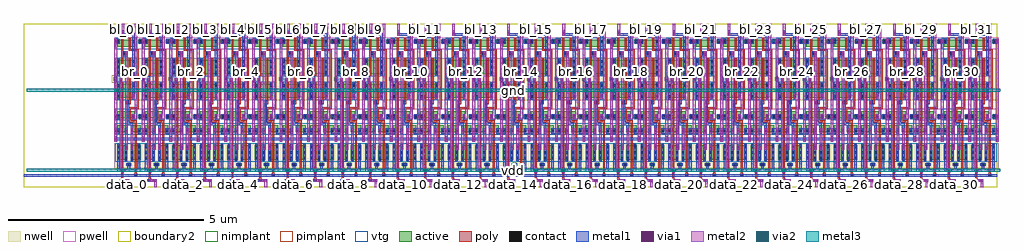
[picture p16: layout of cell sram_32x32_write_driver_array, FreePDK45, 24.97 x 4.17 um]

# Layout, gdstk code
import gdstk
lib = gdstk.Library(unit=1e-6, precision=5e-10)
def R(c, l, rs):  # rectangles x0, y0, x1, y1
    for r in rs: c.add(gdstk.rectangle(r[:2], r[2:], *l))
def A(c, l, x, y, w, h, nx, ny, dx, dy):  # array of equal rectangles
    R(c, l, [(x+i*dx, y+j*dy, x+i*dx+w, y+j*dy+h) for i in range(nx) for j in range(ny)])
active = (1, 0)
pwell = (2, 0)
nwell = (3, 0)
nimplant = (4, 0)
pimplant = (5, 0)
vtg = (6, 0)
poly = (9, 0)
contact = (10, 0)
metal1 = (11, 0)
via1 = (12, 0)
metal2 = (13, 0)
via2 = (14, 0)
metal3 = (15, 0)
boundary2 = (239, 0)

write_driver = lib.new_cell('write_driver')
R(write_driver, active, [(0.2925,0.535,0.3825,0.625), (0.04,0.705,0.115,1.065), (0.04,0.705,0.115,1.065), (0.04,0.705,0.3,1.065), (0.225,0.705,0.3,1.065), (0.225,0.705,0.3,1.065), (0.38,0.705,0.455,1.065), (0.38,0.705,0.455,1.065), (0.38,0.705,0.64,1.065), (0.565,0.705,0.64,1.065), (0.565,0.705,0.64,1.065), (0.04,0.71,0.115,1.065), (0.225,0.71,0.3,1.065), (0.38,0.71,0.455,1.065), (0.565,0.71,0.64,1.065), (0.04,1.4,0.115,1.58), (0.04,1.4,0.115,1.58), (0.04,1.4,0.3,1.58), (0.04,1.4,0.115,1.475), (0.225,1.4,0.3,1.58), (0.225,1.4,0.3,1.58), (0.225,1.4,0.3,1.475), (0.38,1.4,0.455,1.58), (0.38,1.4,0.455,1.58), (0.38,1.4,0.64,1.58), (0.38,1.4,0.455,1.475), (0.565,1.4,0.64,1.58), (0.565,1.4,0.64,1.58), (0.565,1.4,0.64,1.475), (0.5725,1.7575,0.6625,1.8475), (0.04,1.765,0.115,1.945), (0.04,1.765,0.115,1.945), (0.04,1.765,0.115,1.84), (0.04,1.765,0.49,1.945), (0.1975,1.765,0.3375,1.945), (0.415,1.765,0.49,1.945), (0.415,1.765,0.49,1.945), (0.415,1.765,0.49,1.84), (0.04,2.28,0.115,2.64), (0.04,2.28,0.115,2.64), (0.04,2.28,0.115,2.635), (0.04,2.28,0.49,2.64), (0.1975,2.28,0.3375,2.64), (0.415,2.28,0.49,2.64), (0.415,2.28,0.49,2.64), (0.415,2.28,0.49,2.635), (-0.045,2.72,0.045,2.81), (0.04,2.8925,0.115,3.2525), (0.04,2.8925,0.115,3.2525), (0.04,2.8925,0.49,3.2525), (0.1925,2.8925,0.3325,3.2525), (0.415,2.8925,0.49,3.2525), (0.415,2.8925,0.49,3.2525), (0.04,2.8975,0.115,3.2525), (0.415,2.8975,0.49,3.2525), (0.04,3.5875,0.115,3.7675), (0.04,3.5875,0.115,3.7675), (0.04,3.5875,0.49,3.7675), (0.1925,3.5875,0.3325,3.7675), (0.415,3.5875,0.49,3.7675), (0.415,3.5875,0.49,3.7675), (0.575,3.685,0.665,3.775), (0.04,3.6925,0.115,3.7675), (0.415,3.6925,0.49,3.7675)])
R(write_driver, pwell, [(-0.035,1.345,0.74,2), (-0.015,1.345,0.355,1.635), (0.325,1.345,0.695,1.635), (0.5175,1.7025,0.7175,1.9025), (-0.015,1.71,0.545,2), (-0.035,3.5325,0.74,3.83), (-0.015,3.5325,0.545,3.8225), (0.52,3.63,0.72,3.83)])
R(write_driver, nwell, [(-0.035,0.48,0.74,1.12), (0.2375,0.48,0.4375,0.68), (-0.015,0.65,0.355,1.12), (0.325,0.65,0.695,1.12), (-0.035,2.225,0.74,3.3), (-0.015,2.225,0.545,2.695), (-0.1,2.665,0.1,2.865), (-0.015,2.8375,0.545,3.3075)])
R(write_driver, nimplant, [(0.2925,0.535,0.3825,0.625), (0.04,1.4,0.3,1.58), (0.38,1.4,0.64,1.58), (0.04,1.765,0.49,1.945), (-0.045,2.72,0.045,2.81), (0.04,3.5875,0.49,3.7675)])
R(write_driver, pimplant, [(0.04,0.705,0.3,1.065), (0.38,0.705,0.64,1.065), (0.5725,1.7575,0.6625,1.8475), (0.04,2.28,0.49,2.64), (0.04,2.8925,0.49,3.2525), (0.575,3.685,0.665,3.775)])
R(write_driver, vtg, [(-0.015,0.65,0.355,1.12), (0.325,0.65,0.695,1.12), (-0.015,1.345,0.355,1.635), (0.325,1.345,0.695,1.635), (-0.015,1.71,0.545,2), (-0.015,2.225,0.545,2.695), (-0.015,2.8375,0.545,3.3075), (-0.015,3.5325,0.545,3.8225)])
R(write_driver, poly, [(0.1325,0.1325,0.2075,0.2075), (0.145,0.1375,0.195,0.65), (0.4725,0.2625,0.5475,0.3375), (0.485,0.2675,0.535,0.65), (0.145,0.65,0.195,0.705), (0.145,0.65,0.195,1.12), (0.485,0.65,0.535,0.705), (0.485,0.65,0.535,1.12), (0.145,1.065,0.195,1.12), (0.485,1.065,0.535,1.12), (0.145,1.12,0.195,1.345), (0.485,1.12,0.535,1.345), (0.145,1.345,0.195,1.635), (0.145,1.345,0.195,1.4), (0.485,1.345,0.535,1.635), (0.485,1.345,0.535,1.4), (0.145,1.58,0.195,1.635), (0.485,1.58,0.535,1.635), (0.145,1.635,0.195,1.71), (0.485,1.635,0.535,1.66), (0.335,1.66,0.535,1.71), (0.145,1.71,0.195,2), (0.145,1.71,0.195,1.765), (0.335,1.71,0.385,2), (0.335,1.71,0.385,1.765), (0.145,1.945,0.195,2), (0.335,1.945,0.385,2), (0.335,1.995,0.59,2.045), (0.54,1.995,0.59,3.4825), (0.145,2,0.195,2.225), (0.2775,2.12,0.3525,2.195), (0.335,2.12,0.385,2.225), (0.145,2.225,0.195,2.28), (0.145,2.225,0.195,2.695), (0.335,2.225,0.385,2.28), (0.335,2.225,0.385,2.695), (0.145,2.64,0.195,2.695), (0.335,2.64,0.385,2.695), (0.335,2.695,0.385,2.8375), (0.145,2.8375,0.195,2.8925), (0.145,2.8375,0.195,3.3075), (0.335,2.8375,0.385,2.8925), (0.335,2.8375,0.385,3.3075), (0.145,3.2525,0.195,3.3075), (0.335,3.2525,0.385,3.3075), (0.145,3.3075,0.195,3.5325), (0.18,3.37,0.255,3.445), (0.335,3.4825,0.59,3.5325), (0.145,3.5325,0.195,3.8225), (0.145,3.5325,0.195,3.5875), (0.335,3.5325,0.385,3.8225), (0.335,3.5325,0.385,3.5875), (0.145,3.7675,0.195,3.8225), (0.335,3.7675,0.385,3.8225)])
A(write_driver, contact, 0.045, 0.715, 0.065, 0.065, 1, 3, 0, 0.14)
A(write_driver, contact, 0.23, 0.715, 0.065, 0.065, 1, 3, 0, 0.14)
A(write_driver, contact, 0.385, 0.715, 0.065, 0.065, 1, 3, 0, 0.14)
A(write_driver, contact, 0.57, 0.715, 0.065, 0.065, 1, 3, 0, 0.14)
A(write_driver, contact, 0.045, 2.285, 0.065, 0.065, 1, 3, 0, 0.14)
A(write_driver, contact, 0.42, 2.285, 0.065, 0.065, 1, 3, 0, 0.14)
A(write_driver, contact, 0.045, 2.9025, 0.065, 0.065, 1, 3, 0, 0.14)
A(write_driver, contact, 0.42, 2.9025, 0.065, 0.065, 1, 3, 0, 0.14)
R(write_driver, contact, [(0.1375,0.1375,0.2025,0.2025), (0.4775,0.2675,0.5425,0.3325), (0.305,0.5475,0.37,0.6125), (0.045,1.405,0.11,1.47), (0.23,1.405,0.295,1.47), (0.385,1.405,0.45,1.47), (0.57,1.405,0.635,1.47), (0.045,1.77,0.11,1.835), (0.42,1.77,0.485,1.835), (0.585,1.77,0.65,1.835), (0.2825,2.125,0.3475,2.19), (-0.0325,2.7325,0.0325,2.7975), (0.185,3.375,0.25,3.44), (0.045,3.6975,0.11,3.7625), (0.42,3.6975,0.485,3.7625), (0.5875,3.6975,0.6525,3.7625)])
R(write_driver, metal1, [(0.2075,0.135,0.3425,0.2), (0.1025,0.1375,0.2375,0.2025), (0.045,0.2675,0.635,0.3325), (0.045,0.2675,0.635,0.3325), (0.045,0.3975,0.635,0.4625), (0.105,0.3975,0.24,0.4625), (0.045,0.4625,0.11,0.68), (0.3025,0.4625,0.3675,0.6125), (0.57,0.4625,0.635,0.68), (0.27,0.5475,0.405,0.6125), (0.045,0.68,0.11,1.095), (0.23,0.68,0.295,1.095), (0.385,0.68,0.45,1.095), (0.57,0.68,0.635,1.095), (0.2475,0.96,0.3125,1.095), (0.3875,0.96,0.4525,1.095), (-0.0325,1.165,0.0325,1.3), (0.6725,1.165,0.7375,1.3), (-0.035,1.2,0.74,1.265), (-0.0325,1.37,0.0325,1.505), (0.0275,1.37,0.04,1.505), (0.035,1.37,0.045,1.505), (0.045,1.37,0.11,1.505), (0.23,1.37,0.295,1.505), (0.2475,1.37,0.3125,1.505), (0.385,1.37,0.45,1.505), (0.3875,1.37,0.4525,1.505), (0.57,1.37,0.635,1.505), (0.63,1.37,0.6725,1.505), (0.6725,1.37,0.7375,1.505), (0.38,1.4525,0.445,1.5775), (0.2825,1.5775,0.3475,2.175), (0.2825,1.5775,0.445,1.6425), (-0.0325,1.735,0.0325,1.87), (0.0275,1.735,0.04,1.87), (0.035,1.735,0.045,1.87), (0.045,1.735,0.11,1.87), (0.4175,1.735,0.4825,1.87), (0.42,1.735,0.485,1.87), (0.585,1.735,0.65,1.87), (0.65,1.735,0.6725,1.87), (0.6725,1.735,0.7375,1.87), (0.2825,2.09,0.3475,2.225), (0.045,2.25,0.11,2.665), (0.4175,2.25,0.4825,2.385), (0.42,2.25,0.485,2.665), (0.095,2.65,0.11,2.785), (0.1075,2.65,0.1725,2.785), (0.045,2.665,0.11,2.8675), (-0.0325,2.6975,0.0325,2.8325), (0.0325,2.6975,0.175,2.8325), (0.045,2.8675,0.11,3.2825), (0.42,2.8675,0.485,3.2825), (0.42,3.2825,0.485,3.6625), (0.185,3.34,0.25,3.475), (0.2475,3.34,0.3125,3.475), (-0.0325,3.6625,0.0325,3.7975), (0.0275,3.6625,0.04,3.7975), (0.035,3.6625,0.045,3.7975), (0.045,3.6625,0.11,3.7975), (0.42,3.6625,0.485,3.7975), (0.5875,3.6625,0.6525,3.7975), (0.6525,3.6625,0.6725,3.7975), (0.6725,3.6625,0.7375,3.7975), (0.42,3.7975,0.485,3.8725), (0.15,3.8725,0.485,3.9375), (0.1525,3.8725,0.2175,4.0075)])
R(write_driver, via1, [(0.2425,0.135,0.3075,0.2), (0.14,0.3975,0.205,0.4625), (0.2475,0.995,0.3125,1.06), (0.3875,0.995,0.4525,1.06), (-0.0325,1.2,0.0325,1.265), (0.6725,1.2,0.7375,1.265), (-0.0325,1.405,0.0325,1.47), (0.2475,1.405,0.3125,1.47), (0.3875,1.405,0.4525,1.47), (0.6725,1.405,0.7375,1.47), (-0.0325,1.77,0.0325,1.835), (0.4175,1.77,0.4825,1.835), (0.6725,1.77,0.7375,1.835), (0.4175,2.285,0.4825,2.35), (0.1075,2.685,0.1725,2.75), (0.2475,3.375,0.3125,3.44), (-0.0325,3.6975,0.0325,3.7625), (0.6725,3.6975,0.7375,3.7625), (0.1525,3.9075,0.2175,3.9725)])
R(write_driver, metal2, [(0.28,0,0.35,0.14), (0.28,0,0.35,0.14), (0.1575,0.1325,0.35,0.2025), (0.2075,0.1325,0.3425,0.2025), (0.105,0.395,0.24,0.465), (0.105,0.395,0.24,0.465), (0.105,0.465,0.175,2.785), (0.245,0.96,0.315,1.095), (0.385,0.96,0.455,1.095), (0.245,1.095,0.315,1.37), (0.385,1.095,0.455,1.37), (-0.035,1.1625,0.035,3.7975), (-0.035,1.1625,0.035,3.7975), (-0.035,1.165,0.035,1.3), (0.67,1.165,0.74,3.7975), (0.67,1.165,0.74,1.3), (-0.035,1.37,0.035,1.505), (0.245,1.37,0.315,3.4675), (0.245,1.37,0.315,1.505), (0.385,1.37,0.455,1.505), (0.67,1.37,0.74,1.505), (-0.035,1.735,0.035,1.87), (0.415,1.735,0.485,1.87), (0.485,1.735,0.555,4.175), (0.485,1.735,0.555,4.175), (0.67,1.735,0.74,1.87), (0.415,2.25,0.485,2.385), (0.105,2.65,0.175,2.785), (0.245,3.34,0.315,3.475), (-0.035,3.6625,0.035,3.7975), (0.67,3.6625,0.74,3.7975), (0.15,3.8725,0.22,4.0075), (0.15,3.875,0.22,4.175), (0.15,3.875,0.22,4.175)])
R(write_driver, boundary2, [(0,0,0.705,4.175)])
write_driver.add(gdstk.Label('en', (0.3325,0.3), layer=11, texttype=0))
write_driver.add(gdstk.Label('din', (0.32,0.035), layer=13, texttype=0))
write_driver.add(gdstk.Label('vdd', (0.1725,0.4325), layer=13, texttype=0))
write_driver.add(gdstk.Label('br', (0.52,4.15), layer=13, texttype=0))
write_driver.add(gdstk.Label('bl', (0.19,4.138), layer=13, texttype=0))
write_driver.add(gdstk.Label('gnd', (-0.005,1.57), layer=13, texttype=0))
write_driver.add(gdstk.Label('din', (0.315,0.07), layer=13, texttype=0))
write_driver.add(gdstk.Label('bl', (0.185,4.025), layer=13, texttype=0))
write_driver.add(gdstk.Label('br', (0.52,2.955), layer=13, texttype=0))
write_driver.add(gdstk.Label('en', (0.34,0.3), layer=11, texttype=0))
write_driver.add(gdstk.Label('vdd', (0.1725,0.43), layer=13, texttype=0))
write_driver.add(gdstk.Label('gnd', (0,2.48), layer=13, texttype=0))

sram_32x32_contact_18 = lib.new_cell('sram_32x32_contact_18')
R(sram_32x32_contact_18, metal2, [(0.0325,0,0.1025,0.135)])
R(sram_32x32_contact_18, via2, [(0.035,0.035,0.1,0.1)])
R(sram_32x32_contact_18, metal3, [(0,0.0325,0.135,0.1025)])
R(sram_32x32_contact_18, boundary2, [(0,0,0.135,0.135)])

sram_32x32_write_driver_ = lib.new_cell('sram_32x32_write_driver_array')
R(sram_32x32_write_driver_, metal1, [(0,0.2675,24.905,0.3325)])
A(sram_32x32_write_driver_, metal2, 2.625, 0, 0.07, 0.14, 32, 1, 0.705, 0)
A(sram_32x32_write_driver_, metal2, 2.83, 1.735, 0.07, 2.44, 32, 1, 0.705, 0)
A(sram_32x32_write_driver_, metal2, 2.495, 3.875, 0.07, 0.3, 32, 1, 0.705, 0)
R(sram_32x32_write_driver_, metal3, [(0.0675,0.395,24.9725,0.465), (0.0675,2.445,24.9725,2.515)])
R(sram_32x32_write_driver_, boundary2, [(0,0,24.905,4.175)])
sram_32x32_write_driver_.add(gdstk.Reference(write_driver, (2.345,0)))
sram_32x32_write_driver_.add(gdstk.Reference(write_driver, (3.05,0)))
sram_32x32_write_driver_.add(gdstk.Reference(write_driver, (3.755,0)))
sram_32x32_write_driver_.add(gdstk.Reference(write_driver, (4.46,0)))
sram_32x32_write_driver_.add(gdstk.Reference(write_driver, (5.165,0)))
sram_32x32_write_driver_.add(gdstk.Reference(write_driver, (5.87,0)))
sram_32x32_write_driver_.add(gdstk.Reference(write_driver, (6.575,0)))
sram_32x32_write_driver_.add(gdstk.Reference(write_driver, (7.28,0)))
sram_32x32_write_driver_.add(gdstk.Reference(write_driver, (7.985,0)))
sram_32x32_write_driver_.add(gdstk.Reference(write_driver, (8.69,0)))
sram_32x32_write_driver_.add(gdstk.Reference(write_driver, (9.395,0)))
sram_32x32_write_driver_.add(gdstk.Reference(write_driver, (10.1,0)))
sram_32x32_write_driver_.add(gdstk.Reference(write_driver, (10.805,0)))
sram_32x32_write_driver_.add(gdstk.Reference(write_driver, (11.51,0)))
sram_32x32_write_driver_.add(gdstk.Reference(write_driver, (12.215,0)))
sram_32x32_write_driver_.add(gdstk.Reference(write_driver, (12.92,0)))
sram_32x32_write_driver_.add(gdstk.Reference(write_driver, (13.625,0)))
sram_32x32_write_driver_.add(gdstk.Reference(write_driver, (14.33,0)))
sram_32x32_write_driver_.add(gdstk.Reference(write_driver, (15.035,0)))
sram_32x32_write_driver_.add(gdstk.Reference(write_driver, (15.74,0)))
sram_32x32_write_driver_.add(gdstk.Reference(write_driver, (16.445,0)))
sram_32x32_write_driver_.add(gdstk.Reference(write_driver, (17.15,0)))
sram_32x32_write_driver_.add(gdstk.Reference(write_driver, (17.855,0)))
sram_32x32_write_driver_.add(gdstk.Reference(write_driver, (18.56,0)))
sram_32x32_write_driver_.add(gdstk.Reference(write_driver, (19.265,0)))
sram_32x32_write_driver_.add(gdstk.Reference(write_driver, (19.97,0)))
sram_32x32_write_driver_.add(gdstk.Reference(write_driver, (20.675,0)))
sram_32x32_write_driver_.add(gdstk.Reference(write_driver, (21.38,0)))
sram_32x32_write_driver_.add(gdstk.Reference(write_driver, (22.085,0)))
sram_32x32_write_driver_.add(gdstk.Reference(write_driver, (22.79,0)))
sram_32x32_write_driver_.add(gdstk.Reference(write_driver, (23.495,0)))
sram_32x32_write_driver_.add(gdstk.Reference(write_driver, (24.2,0)))
sram_32x32_write_driver_.add(gdstk.Reference(sram_32x32_contact_18, (2.45,0.3625)))
sram_32x32_write_driver_.add(gdstk.Reference(sram_32x32_contact_18, (3.155,0.3625)))
sram_32x32_write_driver_.add(gdstk.Reference(sram_32x32_contact_18, (3.86,0.3625)))
sram_32x32_write_driver_.add(gdstk.Reference(sram_32x32_contact_18, (4.565,0.3625)))
sram_32x32_write_driver_.add(gdstk.Reference(sram_32x32_contact_18, (5.27,0.3625)))
sram_32x32_write_driver_.add(gdstk.Reference(sram_32x32_contact_18, (5.975,0.3625)))
sram_32x32_write_driver_.add(gdstk.Reference(sram_32x32_contact_18, (6.68,0.3625)))
sram_32x32_write_driver_.add(gdstk.Reference(sram_32x32_contact_18, (7.385,0.3625)))
sram_32x32_write_driver_.add(gdstk.Reference(sram_32x32_contact_18, (8.09,0.3625)))
sram_32x32_write_driver_.add(gdstk.Reference(sram_32x32_contact_18, (8.795,0.3625)))
sram_32x32_write_driver_.add(gdstk.Reference(sram_32x32_contact_18, (9.5,0.3625)))
sram_32x32_write_driver_.add(gdstk.Reference(sram_32x32_contact_18, (10.205,0.3625)))
sram_32x32_write_driver_.add(gdstk.Reference(sram_32x32_contact_18, (10.91,0.3625)))
sram_32x32_write_driver_.add(gdstk.Reference(sram_32x32_contact_18, (11.615,0.3625)))
sram_32x32_write_driver_.add(gdstk.Reference(sram_32x32_contact_18, (12.32,0.3625)))
sram_32x32_write_driver_.add(gdstk.Reference(sram_32x32_contact_18, (13.025,0.3625)))
sram_32x32_write_driver_.add(gdstk.Reference(sram_32x32_contact_18, (13.73,0.3625)))
sram_32x32_write_driver_.add(gdstk.Reference(sram_32x32_contact_18, (14.435,0.3625)))
sram_32x32_write_driver_.add(gdstk.Reference(sram_32x32_contact_18, (15.14,0.3625)))
sram_32x32_write_driver_.add(gdstk.Reference(sram_32x32_contact_18, (15.845,0.3625)))
sram_32x32_write_driver_.add(gdstk.Reference(sram_32x32_contact_18, (16.55,0.3625)))
sram_32x32_write_driver_.add(gdstk.Reference(sram_32x32_contact_18, (17.255,0.3625)))
sram_32x32_write_driver_.add(gdstk.Reference(sram_32x32_contact_18, (17.96,0.3625)))
sram_32x32_write_driver_.add(gdstk.Reference(sram_32x32_contact_18, (18.665,0.3625)))
sram_32x32_write_driver_.add(gdstk.Reference(sram_32x32_contact_18, (19.37,0.3625)))
sram_32x32_write_driver_.add(gdstk.Reference(sram_32x32_contact_18, (20.075,0.3625)))
sram_32x32_write_driver_.add(gdstk.Reference(sram_32x32_contact_18, (20.78,0.3625)))
sram_32x32_write_driver_.add(gdstk.Reference(sram_32x32_contact_18, (21.485,0.3625)))
sram_32x32_write_driver_.add(gdstk.Reference(sram_32x32_contact_18, (22.19,0.3625)))
sram_32x32_write_driver_.add(gdstk.Reference(sram_32x32_contact_18, (22.895,0.3625)))
sram_32x32_write_driver_.add(gdstk.Reference(sram_32x32_contact_18, (23.6,0.3625)))
sram_32x32_write_driver_.add(gdstk.Reference(sram_32x32_contact_18, (24.305,0.3625)))
sram_32x32_write_driver_.add(gdstk.Reference(sram_32x32_contact_18, (2.2775,2.4125)))
sram_32x32_write_driver_.add(gdstk.Reference(sram_32x32_contact_18, (2.9825,2.4125)))
sram_32x32_write_driver_.add(gdstk.Reference(sram_32x32_contact_18, (3.6875,2.4125)))
sram_32x32_write_driver_.add(gdstk.Reference(sram_32x32_contact_18, (4.3925,2.4125)))
sram_32x32_write_driver_.add(gdstk.Reference(sram_32x32_contact_18, (5.0975,2.4125)))
sram_32x32_write_driver_.add(gdstk.Reference(sram_32x32_contact_18, (5.8025,2.4125)))
sram_32x32_write_driver_.add(gdstk.Reference(sram_32x32_contact_18, (6.5075,2.4125)))
sram_32x32_write_driver_.add(gdstk.Reference(sram_32x32_contact_18, (7.2125,2.4125)))
sram_32x32_write_driver_.add(gdstk.Reference(sram_32x32_contact_18, (7.9175,2.4125)))
sram_32x32_write_driver_.add(gdstk.Reference(sram_32x32_contact_18, (8.6225,2.4125)))
sram_32x32_write_driver_.add(gdstk.Reference(sram_32x32_contact_18, (9.3275,2.4125)))
sram_32x32_write_driver_.add(gdstk.Reference(sram_32x32_contact_18, (10.0325,2.4125)))
sram_32x32_write_driver_.add(gdstk.Reference(sram_32x32_contact_18, (10.7375,2.4125)))
sram_32x32_write_driver_.add(gdstk.Reference(sram_32x32_contact_18, (11.4425,2.4125)))
sram_32x32_write_driver_.add(gdstk.Reference(sram_32x32_contact_18, (12.1475,2.4125)))
sram_32x32_write_driver_.add(gdstk.Reference(sram_32x32_contact_18, (12.8525,2.4125)))
sram_32x32_write_driver_.add(gdstk.Reference(sram_32x32_contact_18, (13.5575,2.4125)))
sram_32x32_write_driver_.add(gdstk.Reference(sram_32x32_contact_18, (14.2625,2.4125)))
sram_32x32_write_driver_.add(gdstk.Reference(sram_32x32_contact_18, (14.9675,2.4125)))
sram_32x32_write_driver_.add(gdstk.Reference(sram_32x32_contact_18, (15.6725,2.4125)))
sram_32x32_write_driver_.add(gdstk.Reference(sram_32x32_contact_18, (16.3775,2.4125)))
sram_32x32_write_driver_.add(gdstk.Reference(sram_32x32_contact_18, (17.0825,2.4125)))
sram_32x32_write_driver_.add(gdstk.Reference(sram_32x32_contact_18, (17.7875,2.4125)))
sram_32x32_write_driver_.add(gdstk.Reference(sram_32x32_contact_18, (18.4925,2.4125)))
sram_32x32_write_driver_.add(gdstk.Reference(sram_32x32_contact_18, (19.1975,2.4125)))
sram_32x32_write_driver_.add(gdstk.Reference(sram_32x32_contact_18, (19.9025,2.4125)))
sram_32x32_write_driver_.add(gdstk.Reference(sram_32x32_contact_18, (20.6075,2.4125)))
sram_32x32_write_driver_.add(gdstk.Reference(sram_32x32_contact_18, (21.3125,2.4125)))
sram_32x32_write_driver_.add(gdstk.Reference(sram_32x32_contact_18, (22.0175,2.4125)))
sram_32x32_write_driver_.add(gdstk.Reference(sram_32x32_contact_18, (22.7225,2.4125)))
sram_32x32_write_driver_.add(gdstk.Reference(sram_32x32_contact_18, (23.4275,2.4125)))
sram_32x32_write_driver_.add(gdstk.Reference(sram_32x32_contact_18, (24.1325,2.4125)))
sram_32x32_write_driver_.add(gdstk.Label('data_0', (2.66,0.07), layer=13, texttype=0))
sram_32x32_write_driver_.add(gdstk.Label('bl_0', (2.53,4.025), layer=13, texttype=0))
sram_32x32_write_driver_.add(gdstk.Label('br_0', (2.865,2.955), layer=13, texttype=0))
sram_32x32_write_driver_.add(gdstk.Label('data_1', (3.365,0.07), layer=13, texttype=0))
sram_32x32_write_driver_.add(gdstk.Label('bl_1', (3.235,4.025), layer=13, texttype=0))
sram_32x32_write_driver_.add(gdstk.Label('br_1', (3.57,2.955), layer=13, texttype=0))
sram_32x32_write_driver_.add(gdstk.Label('data_2', (4.07,0.07), layer=13, texttype=0))
sram_32x32_write_driver_.add(gdstk.Label('bl_2', (3.94,4.025), layer=13, texttype=0))
sram_32x32_write_driver_.add(gdstk.Label('br_2', (4.275,2.955), layer=13, texttype=0))
sram_32x32_write_driver_.add(gdstk.Label('data_3', (4.775,0.07), layer=13, texttype=0))
sram_32x32_write_driver_.add(gdstk.Label('bl_3', (4.645,4.025), layer=13, texttype=0))
sram_32x32_write_driver_.add(gdstk.Label('br_3', (4.98,2.955), layer=13, texttype=0))
sram_32x32_write_driver_.add(gdstk.Label('data_4', (5.48,0.07), layer=13, texttype=0))
sram_32x32_write_driver_.add(gdstk.Label('bl_4', (5.35,4.025), layer=13, texttype=0))
sram_32x32_write_driver_.add(gdstk.Label('br_4', (5.685,2.955), layer=13, texttype=0))
sram_32x32_write_driver_.add(gdstk.Label('data_5', (6.185,0.07), layer=13, texttype=0))
sram_32x32_write_driver_.add(gdstk.Label('bl_5', (6.055,4.025), layer=13, texttype=0))
sram_32x32_write_driver_.add(gdstk.Label('br_5', (6.39,2.955), layer=13, texttype=0))
sram_32x32_write_driver_.add(gdstk.Label('data_6', (6.89,0.07), layer=13, texttype=0))
sram_32x32_write_driver_.add(gdstk.Label('bl_6', (6.76,4.025), layer=13, texttype=0))
sram_32x32_write_driver_.add(gdstk.Label('br_6', (7.095,2.955), layer=13, texttype=0))
sram_32x32_write_driver_.add(gdstk.Label('data_7', (7.595,0.07), layer=13, texttype=0))
sram_32x32_write_driver_.add(gdstk.Label('bl_7', (7.465,4.025), layer=13, texttype=0))
sram_32x32_write_driver_.add(gdstk.Label('br_7', (7.8,2.955), layer=13, texttype=0))
sram_32x32_write_driver_.add(gdstk.Label('data_8', (8.3,0.07), layer=13, texttype=0))
sram_32x32_write_driver_.add(gdstk.Label('bl_8', (8.17,4.025), layer=13, texttype=0))
sram_32x32_write_driver_.add(gdstk.Label('br_8', (8.505,2.955), layer=13, texttype=0))
sram_32x32_write_driver_.add(gdstk.Label('data_9', (9.005,0.07), layer=13, texttype=0))
sram_32x32_write_driver_.add(gdstk.Label('bl_9', (8.875,4.025), layer=13, texttype=0))
sram_32x32_write_driver_.add(gdstk.Label('br_9', (9.21,2.955), layer=13, texttype=0))
sram_32x32_write_driver_.add(gdstk.Label('data_10', (9.71,0.07), layer=13, texttype=0))
sram_32x32_write_driver_.add(gdstk.Label('bl_10', (9.58,4.025), layer=13, texttype=0))
sram_32x32_write_driver_.add(gdstk.Label('br_10', (9.915,2.955), layer=13, texttype=0))
sram_32x32_write_driver_.add(gdstk.Label('data_11', (10.415,0.07), layer=13, texttype=0))
sram_32x32_write_driver_.add(gdstk.Label('bl_11', (10.285,4.025), layer=13, texttype=0))
sram_32x32_write_driver_.add(gdstk.Label('br_11', (10.62,2.955), layer=13, texttype=0))
sram_32x32_write_driver_.add(gdstk.Label('data_12', (11.12,0.07), layer=13, texttype=0))
sram_32x32_write_driver_.add(gdstk.Label('bl_12', (10.99,4.025), layer=13, texttype=0))
sram_32x32_write_driver_.add(gdstk.Label('br_12', (11.325,2.955), layer=13, texttype=0))
sram_32x32_write_driver_.add(gdstk.Label('data_13', (11.825,0.07), layer=13, texttype=0))
sram_32x32_write_driver_.add(gdstk.Label('bl_13', (11.695,4.025), layer=13, texttype=0))
sram_32x32_write_driver_.add(gdstk.Label('br_13', (12.03,2.955), layer=13, texttype=0))
sram_32x32_write_driver_.add(gdstk.Label('data_14', (12.53,0.07), layer=13, texttype=0))
sram_32x32_write_driver_.add(gdstk.Label('bl_14', (12.4,4.025), layer=13, texttype=0))
sram_32x32_write_driver_.add(gdstk.Label('br_14', (12.735,2.955), layer=13, texttype=0))
sram_32x32_write_driver_.add(gdstk.Label('data_15', (13.235,0.07), layer=13, texttype=0))
sram_32x32_write_driver_.add(gdstk.Label('bl_15', (13.105,4.025), layer=13, texttype=0))
sram_32x32_write_driver_.add(gdstk.Label('br_15', (13.44,2.955), layer=13, texttype=0))
sram_32x32_write_driver_.add(gdstk.Label('data_16', (13.94,0.07), layer=13, texttype=0))
sram_32x32_write_driver_.add(gdstk.Label('bl_16', (13.81,4.025), layer=13, texttype=0))
sram_32x32_write_driver_.add(gdstk.Label('br_16', (14.145,2.955), layer=13, texttype=0))
sram_32x32_write_driver_.add(gdstk.Label('data_17', (14.645,0.07), layer=13, texttype=0))
sram_32x32_write_driver_.add(gdstk.Label('bl_17', (14.515,4.025), layer=13, texttype=0))
sram_32x32_write_driver_.add(gdstk.Label('br_17', (14.85,2.955), layer=13, texttype=0))
sram_32x32_write_driver_.add(gdstk.Label('data_18', (15.35,0.07), layer=13, texttype=0))
sram_32x32_write_driver_.add(gdstk.Label('bl_18', (15.22,4.025), layer=13, texttype=0))
sram_32x32_write_driver_.add(gdstk.Label('br_18', (15.555,2.955), layer=13, texttype=0))
sram_32x32_write_driver_.add(gdstk.Label('data_19', (16.055,0.07), layer=13, texttype=0))
sram_32x32_write_driver_.add(gdstk.Label('bl_19', (15.925,4.025), layer=13, texttype=0))
sram_32x32_write_driver_.add(gdstk.Label('br_19', (16.26,2.955), layer=13, texttype=0))
sram_32x32_write_driver_.add(gdstk.Label('data_20', (16.76,0.07), layer=13, texttype=0))
sram_32x32_write_driver_.add(gdstk.Label('bl_20', (16.63,4.025), layer=13, texttype=0))
sram_32x32_write_driver_.add(gdstk.Label('br_20', (16.965,2.955), layer=13, texttype=0))
sram_32x32_write_driver_.add(gdstk.Label('data_21', (17.465,0.07), layer=13, texttype=0))
sram_32x32_write_driver_.add(gdstk.Label('bl_21', (17.335,4.025), layer=13, texttype=0))
sram_32x32_write_driver_.add(gdstk.Label('br_21', (17.67,2.955), layer=13, texttype=0))
sram_32x32_write_driver_.add(gdstk.Label('data_22', (18.17,0.07), layer=13, texttype=0))
sram_32x32_write_driver_.add(gdstk.Label('bl_22', (18.04,4.025), layer=13, texttype=0))
sram_32x32_write_driver_.add(gdstk.Label('br_22', (18.375,2.955), layer=13, texttype=0))
sram_32x32_write_driver_.add(gdstk.Label('data_23', (18.875,0.07), layer=13, texttype=0))
sram_32x32_write_driver_.add(gdstk.Label('bl_23', (18.745,4.025), layer=13, texttype=0))
sram_32x32_write_driver_.add(gdstk.Label('br_23', (19.08,2.955), layer=13, texttype=0))
sram_32x32_write_driver_.add(gdstk.Label('data_24', (19.58,0.07), layer=13, texttype=0))
sram_32x32_write_driver_.add(gdstk.Label('bl_24', (19.45,4.025), layer=13, texttype=0))
sram_32x32_write_driver_.add(gdstk.Label('br_24', (19.785,2.955), layer=13, texttype=0))
sram_32x32_write_driver_.add(gdstk.Label('data_25', (20.285,0.07), layer=13, texttype=0))
sram_32x32_write_driver_.add(gdstk.Label('bl_25', (20.155,4.025), layer=13, texttype=0))
sram_32x32_write_driver_.add(gdstk.Label('br_25', (20.49,2.955), layer=13, texttype=0))
sram_32x32_write_driver_.add(gdstk.Label('data_26', (20.99,0.07), layer=13, texttype=0))
sram_32x32_write_driver_.add(gdstk.Label('bl_26', (20.86,4.025), layer=13, texttype=0))
sram_32x32_write_driver_.add(gdstk.Label('br_26', (21.195,2.955), layer=13, texttype=0))
sram_32x32_write_driver_.add(gdstk.Label('data_27', (21.695,0.07), layer=13, texttype=0))
sram_32x32_write_driver_.add(gdstk.Label('bl_27', (21.565,4.025), layer=13, texttype=0))
sram_32x32_write_driver_.add(gdstk.Label('br_27', (21.9,2.955), layer=13, texttype=0))
sram_32x32_write_driver_.add(gdstk.Label('data_28', (22.4,0.07), layer=13, texttype=0))
sram_32x32_write_driver_.add(gdstk.Label('bl_28', (22.27,4.025), layer=13, texttype=0))
sram_32x32_write_driver_.add(gdstk.Label('br_28', (22.605,2.955), layer=13, texttype=0))
sram_32x32_write_driver_.add(gdstk.Label('data_29', (23.105,0.07), layer=13, texttype=0))
sram_32x32_write_driver_.add(gdstk.Label('bl_29', (22.975,4.025), layer=13, texttype=0))
sram_32x32_write_driver_.add(gdstk.Label('br_29', (23.31,2.955), layer=13, texttype=0))
sram_32x32_write_driver_.add(gdstk.Label('data_30', (23.81,0.07), layer=13, texttype=0))
sram_32x32_write_driver_.add(gdstk.Label('bl_30', (23.68,4.025), layer=13, texttype=0))
sram_32x32_write_driver_.add(gdstk.Label('br_30', (24.015,2.955), layer=13, texttype=0))
sram_32x32_write_driver_.add(gdstk.Label('data_31', (24.515,0.07), layer=13, texttype=0))
sram_32x32_write_driver_.add(gdstk.Label('bl_31', (24.385,4.025), layer=13, texttype=0))
sram_32x32_write_driver_.add(gdstk.Label('br_31', (24.72,2.955), layer=13, texttype=0))
sram_32x32_write_driver_.add(gdstk.Label('en', (12.4525,0.3), layer=11, texttype=0))
sram_32x32_write_driver_.add(gdstk.Label('vdd', (12.52,0.43), layer=15, texttype=0))
sram_32x32_write_driver_.add(gdstk.Label('gnd', (12.52,2.48), layer=15, texttype=0))

lib.write_gds('sram_32x32_write_driver_array.gds')
